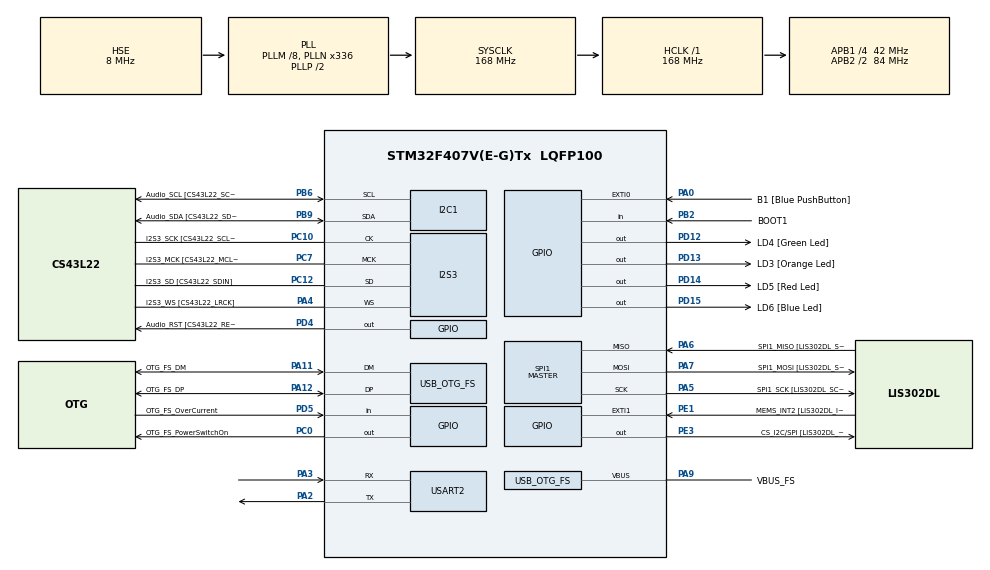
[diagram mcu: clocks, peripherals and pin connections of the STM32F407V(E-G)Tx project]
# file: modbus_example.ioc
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I2S3.AudioFreq-Half_Duplex_Master=I2S_AUDIOFREQ_96K
I2S3.ErrorAudioFreq=-2.34 %
I2S3.ErrorAudioFreq-Half_Duplex_Master=0.8 %
I2S3.FullDuplexMode=I2S_FULLDUPLEXMODE_DISABLE
I2S3.Instance=SPI$Index
I2S3.RealAudioFreq=93.75 KHz
I2S3.RealAudioFreq-Half_Duplex_Master=96.774 KHz
I2S3.VirtualMode=I2S_MODE_MASTER
Mcu.Family=STM32F4
Mcu.Name=STM32F407V(E-G)Tx
Mcu.Package=LQFP100
NVIC.OTG_FS_IRQn=true\:0\:0\:false\:false\:true\:true\:true\:true
NVIC.PriorityGroup=NVIC_PRIORITYGROUP_0
NVIC.USART2_IRQn=true\:0\:0\:false\:false\:true\:true\:true\:true
PA0-WKUP.GPIO_Label=B1 [Blue PushButton]
PA0-WKUP.GPIO_ModeDefaultEXTI=GPIO_MODE_EVT_RISING
PA0-WKUP.GPIO_PuPd=GPIO_NOPULL
PA0-WKUP.Signal=GPXTI0
PA10.GPIO_Label=OTG_FS_ID
PA10.GPIO_Mode=GPIO_MODE_AF_PP
PA10.GPIO_PuPd=GPIO_NOPULL
PA10.GPIO_Speed=GPIO_SPEED_FREQ_LOW
PA10.Signal=USB_OTG_FS_ID
PA11.GPIO_Label=OTG_FS_DM
PA11.GPIO_Mode=GPIO_MODE_AF_PP
PA11.GPIO_PuPd=GPIO_NOPULL
PA11.GPIO_Speed=GPIO_SPEED_FREQ_LOW
PA11.Mode=Host_Only
PA11.Signal=USB_OTG_FS_DM
PA12.GPIO_Label=OTG_FS_DP
PA12.GPIO_Mode=GPIO_MODE_AF_PP
PA12.GPIO_PuPd=GPIO_NOPULL
PA12.GPIO_Speed=GPIO_SPEED_FREQ_LOW
PA12.Mode=Host_Only
PA12.Signal=USB_OTG_FS_DP
PA13.GPIO_Label=SWDIO
PA13.Mode=Serial_Wire
PA13.Signal=SYS_JTMS-SWDIO
PA14.GPIO_Label=SWCLK
PA14.Mode=Serial_Wire
PA14.Signal=SYS_JTCK-SWCLK
PA2.Mode=Asynchronous
PA2.Signal=USART2_TX
PA3.Mode=Asynchronous
PA3.Signal=USART2_RX
PA4.GPIO_Label=I2S3_WS [CS43L22_LRCK]
PA4.GPIO_Mode=GPIO_MODE_AF_PP
PA4.GPIO_PuPd=GPIO_NOPULL
PA4.GPIO_Speed=GPIO_SPEED_FREQ_LOW
PA4.Mode=Half_Duplex_Master
PA4.Signal=I2S3_WS
PA5.GPIO_Label=SPI1_SCK [LIS302DL_SCL/SPC]
PA5.GPIO_Mode=GPIO_MODE_AF_PP
PA5.GPIO_PuPd=GPIO_NOPULL
PA5.GPIO_Speed=GPIO_SPEED_FREQ_LOW
PA5.Mode=Full_Duplex_Master
PA5.Signal=SPI1_SCK
PA6.GPIO_Label=SPI1_MISO [LIS302DL_SDO]
PA6.GPIO_Mode=GPIO_MODE_AF_PP
PA6.GPIO_PuPd=GPIO_NOPULL
PA6.GPIO_Speed=GPIO_SPEED_FREQ_LOW
PA6.Mode=Full_Duplex_Master
PA6.Signal=SPI1_MISO
PA7.GPIO_Label=SPI1_MOSI [LIS302DL_SDA/SDI/SDO]
PA7.GPIO_Mode=GPIO_MODE_AF_PP
PA7.GPIO_PuPd=GPIO_NOPULL
PA7.GPIO_Speed=GPIO_SPEED_FREQ_LOW
PA7.Mode=Full_Duplex_Master
PA7.Signal=SPI1_MOSI
PA9.GPIO_Label=VBUS_FS
PA9.GPIO_Mode=GPIO_MODE_INPUT
PA9.GPIO_PuPd=GPIO_NOPULL
PA9.Mode=Activate_VBUS
PA9.Signal=USB_OTG_FS_VBUS
PB10.GPIO_Label=CLK_IN [MP45DT02_CLK]
PB10.GPIO_Mode=GPIO_MODE_AF_PP
PB10.GPIO_PuPd=GPIO_NOPULL
PB10.GPIO_Speed=GPIO_SPEED_FREQ_LOW
PB10.Signal=I2S2_CK
PB2.GPIO_Label=BOOT1
PB2.GPIO_Mode=GPIO_MODE_INPUT
PB2.GPIO_PuPd=GPIO_NOPULL
PB2.Signal=GPIO_Input
PB3.GPIO_Label=SWO
PB3.Signal=SYS_JTDO-SWO
PB6.GPIO_Label=Audio_SCL [CS43L22_SCL]
PB6.GPIO_Mode=GPIO_MODE_AF_OD
PB6.GPIO_Pu=GPIO_PULLUP
PB6.GPIO_PuPd=GPIO_NOPULL
PB6.GPIO_Speed=GPIO_SPEED_FREQ_LOW
PB6.Mode=I2C
PB6.Signal=I2C1_SCL
PB9.GPIO_Label=Audio_SDA [CS43L22_SDA]
PB9.GPIO_Mode=GPIO_MODE_AF_OD
PB9.GPIO_Pu=GPIO_PULLUP
PB9.GPIO_PuPd=GPIO_NOPULL
PB9.GPIO_Speed=GPIO_SPEED_FREQ_LOW
PB9.Mode=I2C
PB9.Signal=I2C1_SDA
PC0.GPIO_Label=OTG_FS_PowerSwitchOn
PC0.GPIO_PuPd=GPIO_NOPULL
PC0.GPIO_Speed=GPIO_SPEED_FREQ_LOW
PC0.PinState=GPIO_PIN_SET
PC0.Signal=GPIO_Output
PC10.GPIO_Label=I2S3_SCK [CS43L22_SCLK]
PC10.GPIO_Mode=GPIO_MODE_AF_PP
PC10.GPIO_PuPd=GPIO_NOPULL
PC10.GPIO_Speed=GPIO_SPEED_FREQ_LOW
PC10.Mode=Half_Duplex_Master
PC10.Signal=I2S3_CK
PC12.GPIO_Label=I2S3_SD [CS43L22_SDIN]
PC12.GPIO_Mode=GPIO_MODE_AF_PP
PC12.GPIO_PuPd=GPIO_NOPULL
PC12.GPIO_Speed=GPIO_SPEED_FREQ_LOW
PC12.Mode=Half_Duplex_Master
PC12.Signal=I2S3_SD
PC14-OSC32_IN.GPIO_Label=PC14-OSC32_IN
PC14-OSC32_IN.Mode=LSE-External-Oscillator
PC14-OSC32_IN.Signal=RCC_OSC32_IN
PC15-OSC32_OUT.GPIO_Label=PC15-OSC32_OUT
PC15-OSC32_OUT.Mode=LSE-External-Oscillator
PC15-OSC32_OUT.Signal=RCC_OSC32_OUT
PC3.GPIO_Label=PDM_OUT [MP45DT02_DOUT]
PC3.GPIO_Mode=GPIO_MODE_AF_PP
PC3.GPIO_PuPd=GPIO_NOPULL
PC3.GPIO_Speed=GPIO_SPEED_FREQ_LOW
PC3.Signal=I2S2_SD
PC7.GPIO_Label=I2S3_MCK [CS43L22_MCLK]
PC7.GPIO_Mode=GPIO_MODE_AF_PP
PC7.GPIO_PuPd=GPIO_NOPULL
PC7.GPIO_Speed=GPIO_SPEED_FREQ_LOW
PC7.Mode=Master_Clock_Activated
PC7.Signal=I2S3_MCK
PD12.GPIO_Label=LD4 [Green Led]
PD12.GPIO_PuPd=GPIO_NOPULL
PD12.GPIO_Speed=GPIO_SPEED_FREQ_LOW
PD12.Signal=GPIO_Output
PD13.GPIO_Label=LD3 [Orange Led]
PD13.GPIO_PuPd=GPIO_NOPULL
PD13.GPIO_Speed=GPIO_SPEED_FREQ_LOW
PD13.Signal=GPIO_Output
PD14.GPIO_Label=LD5 [Red Led]
PD14.GPIO_PuPd=GPIO_NOPULL
PD14.GPIO_Speed=GPIO_SPEED_FREQ_LOW
PD14.Signal=GPIO_Output
PD15.GPIO_Label=LD6 [Blue Led]
PD15.GPIO_PuPd=GPIO_NOPULL
PD15.GPIO_Speed=GPIO_SPEED_FREQ_LOW
PD15.Signal=GPIO_Output
PD4.GPIO_Label=Audio_RST [CS43L22_RESET]
PD4.GPIO_PuPd=GPIO_NOPULL
PD4.GPIO_Speed=GPIO_SPEED_FREQ_LOW
PD4.Signal=GPIO_Output
PD5.GPIO_Label=OTG_FS_OverCurrent
PD5.GPIO_Mode=GPIO_MODE_INPUT
PD5.GPIO_PuPd=GPIO_NOPULL
PD5.Signal=GPIO_Input
PE1.GPIO_Label=MEMS_INT2 [LIS302DL_INT2]
PE1.GPIO_ModeDefaultEXTI=GPIO_MODE_EVT_RISING
PE1.GPIO_PuPd=GPIO_NOPULL
PE1.Signal=GPXTI1
PE3.GPIO_Label=CS_I2C/SPI [LIS302DL_CS_I2C/SPI]
PE3.GPIO_PuPd=GPIO_NOPULL
PE3.GPIO_Speed=GPIO_SPEED_FREQ_LOW
PE3.Signal=GPIO_Output
PH0-OSC_IN.GPIO_Label=PH0-OSC_IN
PH0-OSC_IN.Mode=HSE-External-Oscillator
PH0-OSC_IN.Signal=RCC_OSC_IN
PH1-OSC_OUT.GPIO_Label=PH1-OSC_OUT
PH1-OSC_OUT.Mode=HSE-External-Oscillator
PH1-OSC_OUT.Signal=RCC_OSC_OUT
ProjectManager.HeapSize=0x200
ProjectManager.StackSize=0x400
ProjectManager.TargetToolchain=Makefile
RCC.48MHZClocksFreq_Value=48000000
RCC.AHBFreq_Value=168000000
RCC.APB1CLKDivider=RCC_HCLK_DIV4
RCC.APB1Freq_Value=42000000
RCC.APB1TimFreq_Value=84000000
RCC.APB2CLKDivider=RCC_HCLK_DIV2
RCC.APB2Freq_Value=84000000
RCC.APB2TimFreq_Value=168000000
RCC.CortexFreq_Value=168000000
RCC.HCLKFreq_Value=168000000
RCC.HSE_VALUE=8000000
RCC.HSI_VALUE=16000000
RCC.PLLM=8
RCC.PLLN=336
RCC.PLLQ=7
RCC.SYSCLKFreq_VALUE=168000000
RCC.SYSCLKSource=RCC_SYSCLKSOURCE_PLLCLK
RCC.VCOOutputFreq_Value=336000000
SPI1.BaudRatePrescaler-Full_Duplex_Master=SPI_BAUDRATEPRESCALER_2
SPI1.CalculateBaudRate-Full_Duplex_Master=42.0 MBits/s
SPI1.Direction=SPI_DIRECTION_2LINES
SPI1.Mode=SPI_MODE_MASTER
SPI1.Mode-Full_Duplex_Master=SPI_MODE_MASTER
SPI1.VirtualType=VM_MASTER
USART2.VirtualMode=VM_ASYNC
USB_HOST.BSP.number=1
USB_HOST.USBH_HandleTypeDef-CDC_FS=hUsbHostFS
USB_HOST.VirtualModeFS=Cdc
USB_HOST0.BSP.STBoard=false
USB_HOST0.BSP.api=Unknown
USB_HOST0.BSP.i2caddr=0
USB_HOST0.BSP.i2creg=0
USB_HOST0.BSP.instance=PC0
USB_HOST0.BSP.ip=GPIO
USB_HOST0.BSP.mode=Output
USB_HOST0.BSP.name=Drive_VBUS_FS
USB_HOST0.BSP.solution=PC0
USB_OTG_FS.VirtualMode=Host_Only
USB_OTG_FS.phy_itface=HCD_PHY_EMBEDDED
VP_USB_HOST_VS_USB_HOST_CDC_FS.Mode=CDC_FS
board=STM32F407G-DISC1

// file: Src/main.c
/* USER CODE BEGIN Header */
/**
  ******************************************************************************
  * @file           : main.c
  * @brief          : Main program body
  ******************************************************************************
  * @attention
  *
  * <h2><center>&copy; Copyright (c) 2021 STMicroelectronics.
  * All rights reserved.</center></h2>
  *
  * This software component is licensed by ST under Ultimate Liberty license
  * SLA0044, the "License"; You may not use this file except in compliance with
  * the License. You may obtain a copy of the License at:
  *                             www.st.com/SLA0044
  *
  ******************************************************************************
  */
/* USER CODE END Header */
#include "main.h"
#include "usb_host.h"

/* USER CODE BEGIN Includes */
#include "modbus_lib.h"

/* USER CODE END Includes */

 I2C_HandleTypeDef hi2c1;

I2S_HandleTypeDef hi2s3;

SPI_HandleTypeDef hspi1;

UART_HandleTypeDef huart2;

void SystemClock_Config(void);
static void MX_GPIO_Init(void);
static void MX_I2C1_Init(void);
static void MX_I2S3_Init(void);
static void MX_SPI1_Init(void);
static void MX_USART2_UART_Init(void);
void MX_USB_HOST_Process(void);

/* USER CODE BEGIN PFP */

//
// modbus_lib requirements:
//
void uart2_dataHandler(void){
  volatile char buff;
  HAL_UART_Receive (&huart2, (uint8_t *)&buff, 1, 400);
  modbus_lib_append_data(buff);
}

void uart2_idleHandler(){
  modbus_lib_end_of_telegram();
}

uint16_t modbus_lib_read_handler(uint16_t la){ // la: logical_address
    switch(la){ // debugger: printf "requested address: %d\n",la
      case 40001:
        return 5;
      case 40002:
        return 6;
      default:
        return modbus_lib_send_error(MBUS_RESPONSE_ILLEGAL_DATA_ADDRESS); //// debugger
    }
}

uint16_t modbus_lib_write_handler(uint16_t la, uint16_t value){
  switch(la){ // debugger: printf "requested address: %d\n",la
    case 40001:
      HAL_GPIO_TogglePin(LD5_GPIO_Port, LD5_Pin); // red led
      break;
    default:
      return  modbus_lib_send_error(MBUS_RESPONSE_ILLEGAL_DATA_ADDRESS);
  }
  return 0; // success
}

int modbus_lib_transport_write(uint8_t* buffer, uint16_t length){
    HAL_UART_Transmit(&huart2, buffer, length, 1000);
    return 0;
}

/* USER CODE END PFP */

int main(void)
{

  /* MCU Configuration--------------------------------------------------------*/

  /* Reset of all peripherals, Initializes the Flash interface and the Systick. */
  HAL_Init();

  /* Configure the system clock */
  SystemClock_Config();

  /* Initialize all configured peripherals */
  MX_GPIO_Init();
  MX_I2C1_Init();
  MX_I2S3_Init();
  MX_SPI1_Init();
  MX_USB_HOST_Init();
  MX_USART2_UART_Init();
  /* USER CODE BEGIN 2 */

  ModbusConfig_t modbus_cfg = {
    .address = 1
  };

  modbus_lib_init(&modbus_cfg);

  /* USER CODE END 2 */

  /* Infinite loop */
  while (1)
  {
    MX_USB_HOST_Process();

    /* USER CODE BEGIN 3 */
    HAL_GPIO_TogglePin(LD6_GPIO_Port, LD6_Pin); // toggle the blue led as heartbeat
    HAL_Delay(500);

  }
  /* USER CODE END 3 */
}

void SystemClock_Config(void)
{
  RCC_OscInitTypeDef RCC_OscInitStruct = {0};
  RCC_ClkInitTypeDef RCC_ClkInitStruct = {0};

  /** Configure the main internal regulator output voltage
  */
  __HAL_RCC_PWR_CLK_ENABLE();
  __HAL_PWR_VOLTAGESCALING_CONFIG(PWR_REGULATOR_VOLTAGE_SCALE1);

  /** Initializes the RCC Oscillators according to the specified parameters
  * in the RCC_OscInitTypeDef structure.
  */
  RCC_OscInitStruct.OscillatorType = RCC_OSCILLATORTYPE_HSE;
  RCC_OscInitStruct.HSEState = RCC_HSE_ON;
  RCC_OscInitStruct.PLL.PLLState = RCC_PLL_ON;
  RCC_OscInitStruct.PLL.PLLSource = RCC_PLLSOURCE_HSE;
  RCC_OscInitStruct.PLL.PLLM = 8;
  RCC_OscInitStruct.PLL.PLLN = 336;
  RCC_OscInitStruct.PLL.PLLP = RCC_PLLP_DIV2;
  RCC_OscInitStruct.PLL.PLLQ = 7;
  if (HAL_RCC_OscConfig(&RCC_OscInitStruct) != HAL_OK)
  {
    Error_Handler();
  }

  /** Initializes the CPU, AHB and APB buses clocks
  */
  RCC_ClkInitStruct.ClockType = RCC_CLOCKTYPE_HCLK|RCC_CLOCKTYPE_SYSCLK
                              |RCC_CLOCKTYPE_PCLK1|RCC_CLOCKTYPE_PCLK2;
  RCC_ClkInitStruct.SYSCLKSource = RCC_SYSCLKSOURCE_PLLCLK;
  RCC_ClkInitStruct.AHBCLKDivider = RCC_SYSCLK_DIV1;
  RCC_ClkInitStruct.APB1CLKDivider = RCC_HCLK_DIV4;
  RCC_ClkInitStruct.APB2CLKDivider = RCC_HCLK_DIV2;

  if (HAL_RCC_ClockConfig(&RCC_ClkInitStruct, FLASH_LATENCY_5) != HAL_OK)
  {
    Error_Handler();
  }
}

static void MX_I2C1_Init(void)
{

  hi2c1.Instance = I2C1;
  hi2c1.Init.ClockSpeed = 100000;
  hi2c1.Init.DutyCycle = I2C_DUTYCYCLE_2;
  hi2c1.Init.OwnAddress1 = 0;
  hi2c1.Init.AddressingMode = I2C_ADDRESSINGMODE_7BIT;
  hi2c1.Init.DualAddressMode = I2C_DUALADDRESS_DISABLE;
  hi2c1.Init.OwnAddress2 = 0;
  hi2c1.Init.GeneralCallMode = I2C_GENERALCALL_DISABLE;
  hi2c1.Init.NoStretchMode = I2C_NOSTRETCH_DISABLE;
  if (HAL_I2C_Init(&hi2c1) != HAL_OK)
  {
    Error_Handler();
  }

}

static void MX_I2S3_Init(void)
{

  hi2s3.Instance = SPI3;
  hi2s3.Init.Mode = I2S_MODE_MASTER_TX;
  hi2s3.Init.Standard = I2S_STANDARD_PHILIPS;
  hi2s3.Init.DataFormat = I2S_DATAFORMAT_16B;
  hi2s3.Init.MCLKOutput = I2S_MCLKOUTPUT_ENABLE;
  hi2s3.Init.AudioFreq = I2S_AUDIOFREQ_96K;
  hi2s3.Init.CPOL = I2S_CPOL_LOW;
  hi2s3.Init.ClockSource = I2S_CLOCK_PLL;
  hi2s3.Init.FullDuplexMode = I2S_FULLDUPLEXMODE_DISABLE;
  if (HAL_I2S_Init(&hi2s3) != HAL_OK)
  {
    Error_Handler();
  }

}

static void MX_SPI1_Init(void)
{

  /* SPI1 parameter configuration*/
  hspi1.Instance = SPI1;
  hspi1.Init.Mode = SPI_MODE_MASTER;
  hspi1.Init.Direction = SPI_DIRECTION_2LINES;
  hspi1.Init.DataSize = SPI_DATASIZE_8BIT;
  hspi1.Init.CLKPolarity = SPI_POLARITY_LOW;
  hspi1.Init.CLKPhase = SPI_PHASE_1EDGE;
  hspi1.Init.NSS = SPI_NSS_SOFT;
  hspi1.Init.BaudRatePrescaler = SPI_BAUDRATEPRESCALER_2;
  hspi1.Init.FirstBit = SPI_FIRSTBIT_MSB;
  hspi1.Init.TIMode = SPI_TIMODE_DISABLE;
  hspi1.Init.CRCCalculation = SPI_CRCCALCULATION_DISABLE;
  hspi1.Init.CRCPolynomial = 10;
  if (HAL_SPI_Init(&hspi1) != HAL_OK)
  {
    Error_Handler();
  }

}

static void MX_USART2_UART_Init(void)
{

  huart2.Instance = USART2;
  huart2.Init.BaudRate = 115200;
  huart2.Init.WordLength = UART_WORDLENGTH_8B;
  huart2.Init.StopBits = UART_STOPBITS_1;
  huart2.Init.Parity = UART_PARITY_NONE;
  huart2.Init.Mode = UART_MODE_TX_RX;
  huart2.Init.HwFlowCtl = UART_HWCONTROL_NONE;
  huart2.Init.OverSampling = UART_OVERSAMPLING_16;
  if (HAL_UART_Init(&huart2) != HAL_OK)
  {
    Error_Handler();
  }
  /* USER CODE BEGIN USART2_Init 2 */
  __HAL_UART_ENABLE_IT(&huart2, UART_IT_RXNE);  // enable receive intterupts
  __HAL_UART_ENABLE_IT(&huart2, UART_IT_IDLE);  // enable idle line detection
  /* USER CODE END USART2_Init 2 */

}

static void MX_GPIO_Init(void)
{
  GPIO_InitTypeDef GPIO_InitStruct = {0};

  /* GPIO Ports Clock Enable */
  __HAL_RCC_GPIOE_CLK_ENABLE();
  __HAL_RCC_GPIOC_CLK_ENABLE();
  __HAL_RCC_GPIOH_CLK_ENABLE();
  __HAL_RCC_GPIOA_CLK_ENABLE();
  __HAL_RCC_GPIOB_CLK_ENABLE();
  __HAL_RCC_GPIOD_CLK_ENABLE();

  /*Configure GPIO pin Output Level */
  HAL_GPIO_WritePin(CS_I2C_SPI_GPIO_Port, CS_I2C_SPI_Pin, GPIO_PIN_RESET);

  /*Configure GPIO pin Output Level */
  HAL_GPIO_WritePin(OTG_FS_PowerSwitchOn_GPIO_Port, OTG_FS_PowerSwitchOn_Pin, GPIO_PIN_SET);

  /*Configure GPIO pin Output Level */
  HAL_GPIO_WritePin(GPIOD, LD4_Pin|LD3_Pin|LD5_Pin|LD6_Pin
                          |Audio_RST_Pin, GPIO_PIN_RESET);

  /*Configure GPIO pin : CS_I2C_SPI_Pin */
  GPIO_InitStruct.Pin = CS_I2C_SPI_Pin;
  GPIO_InitStruct.Mode = GPIO_MODE_OUTPUT_PP;
  GPIO_InitStruct.Pull = GPIO_NOPULL;
  GPIO_InitStruct.Speed = GPIO_SPEED_FREQ_LOW;
  HAL_GPIO_Init(CS_I2C_SPI_GPIO_Port, &GPIO_InitStruct);

  /*Configure GPIO pin : OTG_FS_PowerSwitchOn_Pin */
  GPIO_InitStruct.Pin = OTG_FS_PowerSwitchOn_Pin;
  GPIO_InitStruct.Mode = GPIO_MODE_OUTPUT_PP;
  GPIO_InitStruct.Pull = GPIO_NOPULL;
  GPIO_InitStruct.Speed = GPIO_SPEED_FREQ_LOW;
  HAL_GPIO_Init(OTG_FS_PowerSwitchOn_GPIO_Port, &GPIO_InitStruct);

  /*Configure GPIO pin : PDM_OUT_Pin */
  GPIO_InitStruct.Pin = PDM_OUT_Pin;
  GPIO_InitStruct.Mode = GPIO_MODE_AF_PP;
  GPIO_InitStruct.Pull = GPIO_NOPULL;
  GPIO_InitStruct.Speed = GPIO_SPEED_FREQ_LOW;
  GPIO_InitStruct.Alternate = GPIO_AF5_SPI2;
  HAL_GPIO_Init(PDM_OUT_GPIO_Port, &GPIO_InitStruct);

  /*Configure GPIO pin : B1_Pin */
  GPIO_InitStruct.Pin = B1_Pin;
  GPIO_InitStruct.Mode = GPIO_MODE_EVT_RISING;
  GPIO_InitStruct.Pull = GPIO_NOPULL;
  HAL_GPIO_Init(B1_GPIO_Port, &GPIO_InitStruct);

  /*Configure GPIO pin : BOOT1_Pin */
  GPIO_InitStruct.Pin = BOOT1_Pin;
  GPIO_InitStruct.Mode = GPIO_MODE_INPUT;
  GPIO_InitStruct.Pull = GPIO_NOPULL;
  HAL_GPIO_Init(BOOT1_GPIO_Port, &GPIO_InitStruct);

  /*Configure GPIO pin : CLK_IN_Pin */
  GPIO_InitStruct.Pin = CLK_IN_Pin;
  GPIO_InitStruct.Mode = GPIO_MODE_AF_PP;
  GPIO_InitStruct.Pull = GPIO_NOPULL;
  GPIO_InitStruct.Speed = GPIO_SPEED_FREQ_LOW;
  GPIO_InitStruct.Alternate = GPIO_AF5_SPI2;
  HAL_GPIO_Init(CLK_IN_GPIO_Port, &GPIO_InitStruct);

  /*Configure GPIO pins : LD4_Pin LD3_Pin LD5_Pin LD6_Pin
                           Audio_RST_Pin */
  GPIO_InitStruct.Pin = LD4_Pin|LD3_Pin|LD5_Pin|LD6_Pin
                          |Audio_RST_Pin;
  GPIO_InitStruct.Mode = GPIO_MODE_OUTPUT_PP;
  GPIO_InitStruct.Pull = GPIO_NOPULL;
  GPIO_InitStruct.Speed = GPIO_SPEED_FREQ_LOW;
  HAL_GPIO_Init(GPIOD, &GPIO_InitStruct);

  /*Configure GPIO pin : OTG_FS_OverCurrent_Pin */
  GPIO_InitStruct.Pin = OTG_FS_OverCurrent_Pin;
  GPIO_InitStruct.Mode = GPIO_MODE_INPUT;
  GPIO_InitStruct.Pull = GPIO_NOPULL;
  HAL_GPIO_Init(OTG_FS_OverCurrent_GPIO_Port, &GPIO_InitStruct);

  /*Configure GPIO pin : MEMS_INT2_Pin */
  GPIO_InitStruct.Pin = MEMS_INT2_Pin;
  GPIO_InitStruct.Mode = GPIO_MODE_EVT_RISING;
  GPIO_InitStruct.Pull = GPIO_NOPULL;
  HAL_GPIO_Init(MEMS_INT2_GPIO_Port, &GPIO_InitStruct);

}

void Error_Handler(void)
{
  __disable_irq();
  while (1)
  {
  }
}
